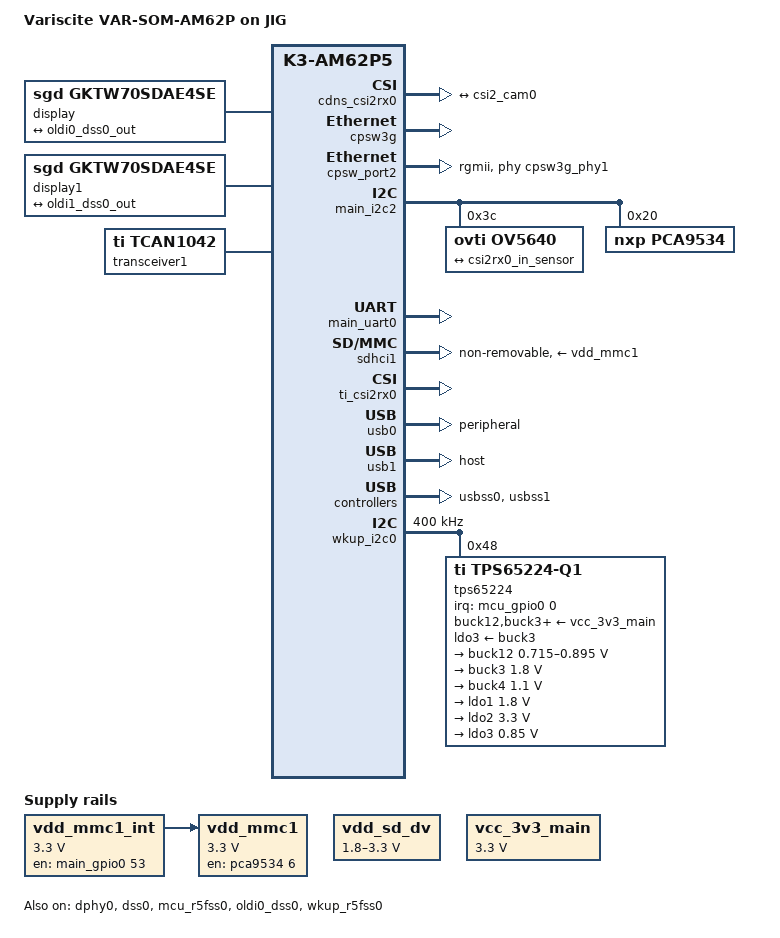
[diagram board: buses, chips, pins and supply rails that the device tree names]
// SPDX-License-Identifier: GPL-2.0
/*
 * VAR-SOM-AM62
 *
 * Copyright (C) 2021-2022 Texas Instruments Incorporated - https://www.ti.com/
 * Copyright (C) 2025 Variscite Ltd. - https://www.variscite.com/
 */

/dts-v1/;

#include "k3-am62p5-var-som.dtsi"

/ {
	model = "Variscite VAR-SOM-AM62P on JIG";

	aliases {
		ethernet0 = &cpsw_port1;
		ethernet1 = &cpsw_port2;
		mmc0 = &sdhci0;
		mmc1 = &sdhci1;
		mmc2 = &sdhci2;
		serial0 = &main_uart0;
		serial2 = &main_uart2;
		serial5 = &main_uart5;
		serial6 = &main_uart6;
		spi5 = &main_spi2;
		usb0 = &usb0;
		usb1 = &usb1;
		i2c0 = &main_i2c0;
		i2c1 = &main_i2c1;
		i2c2 = &main_i2c2;
		i2c3 = &main_i2c3;
	};

	chosen {
		stdout-path = "serial0:115200n8";
		bootargs = "console=ttyS0,115200n8 earlycon=ns16550a,mmio32,0x02800000";
	};

	clk_ov5640_fixed: clock {
		#clock-cells = <0>;
		compatible = "fixed-clock";
		clock-frequency = <24000000>;
	};

	display {
		compatible = "sgd,gktw70sdae4se";
		status = "okay";

		port@0 {
			lcd_in0: endpoint {
				remote-endpoint = <&oldi0_dss0_out>;
			};
		};
	};

	display1 {
		compatible = "sgd,gktw70sdae4se";
		status = "okay";

		port@1 {
			lcd_in1: endpoint {
				remote-endpoint = <&oldi1_dss0_out>;
			};
		};
	};

	transceiver1: can-phy0 {
		compatible = "ti,tcan1042";
		#phy-cells = <0>;
		max-bitrate = <5000000>;
	};

	vdd_mmc1: regulator-1 {
		compatible = "regulator-fixed";
		regulator-name = "sd_ext_rst";
	        vin-supply = <&vdd_mmc1_int>;
		regulator-min-microvolt = <3300000>;
		regulator-max-microvolt = <3300000>;
		regulator-boot-on;
		enable-active-high;
		gpio = <&pca9534 6 GPIO_ACTIVE_HIGH>;
		bootph-all;
	};

	vdd_mmc1_int: regulator-2 {
		compatible = "regulator-fixed";
		regulator-name = "sd_int_rst";
		pinctrl-names = "default";
		pinctrl-0 = <&vdd_mmc1_pins_default>;
		regulator-min-microvolt = <3300000>;
		regulator-max-microvolt = <3300000>;
		regulator-boot-on;
		enable-active-high;
		gpio = <&main_gpio0 53 GPIO_ACTIVE_HIGH>;
		bootph-all;
	};

	vdd_sd_dv: regulator-3 {
		compatible = "regulator-gpio";
		regulator-name = "vdd_sd_vio";
		pinctrl-names = "default";
		pinctrl-0 = <&vdd_sd_dv_pins_default>;
		regulator-min-microvolt = <1800000>;
		regulator-max-microvolt = <3300000>;
		regulator-boot-on;
		gpios = <&main_gpio0 56 GPIO_ACTIVE_HIGH>;
		states = <1800000 0x0>,
			 <3300000 0x1>;
		bootph-all;
	};

	vcc_3v3_main: regulator-4 {
		compatible = "regulator-fixed";
		regulator-name = "vcc_3v3_main";
		regulator-min-microvolt = <3300000>;
		regulator-max-microvolt = <3300000>;
		regulator-always-on;
		regulator-boot-on;
	};
};

&cdns_csi2rx0 {
	ports {
		#address-cells = <1>;
		#size-cells = <0>;

		csi0_port0: port@0 {
			reg = <0>;
			status = "okay";

			csi2rx0_in_sensor: endpoint {
				remote-endpoint = <&csi2_cam0>;
				bus-type = <4>; /* CSI2 DPHY. */
				clock-lanes = <0>;
				data-lanes = <1 2>;
			};
		};
	};
};

&cpsw3g {
	status = "okay";
	pinctrl-names = "default";
	pinctrl-0 = <&main_rgmii1_pins_default>;
};

&cpsw3g_mdio {
	pinctrl-names = "default";
	pinctrl-0 = <&main_mdio1_pins_default>;

	cpsw3g_phy1: ethernet-phy@5 {
		status = "disabled";
		reg = <5>;
		compatible = "ethernet-phy-id0283.bc30";
		reset-gpios = <&pca9534 5 GPIO_ACTIVE_LOW>;
		reset-assert-us = <10000>;
		reset-deassert-us = <100000>;
	};
};

&cpsw_port2 {
	phy-mode = "rgmii";
	phy-handle = <&cpsw3g_phy1>;
	status = "okay";
};

&dphy0 {
	status = "okay";
};

&dss0 {
	status = "okay";
};

&dss0_ports {
	#address-cells = <1>;
	#size-cells = <0>;

	/* VP1: Output to OLDI */
	port@0 {
		reg = <0>;
		#address-cells = <1>;
		#size-cells = <0>;

		dss0_dpi0_out0: endpoint@0 {
			reg = <0>;
			remote-endpoint = <&oldi0_dss0_in>;
		};

		dss0_dpi0_out1: endpoint@1 {
			reg = <1>;
			remote-endpoint = <&oldi1_dss0_in>;
		};
	};
};

&epwm1 {
	status = "disabled";
};

&mailbox0_cluster0 {
	mbox_r5_0: mbox-r5-0 {
		ti,mbox-rx = <0 0 0>;
		ti,mbox-tx = <1 0 0>;
	};
};

&mailbox0_cluster1 {
	mbox_mcu_r5_0: mbox-mcu-r5-0 {
		ti,mbox-rx = <0 0 0>;
		ti,mbox-tx = <1 0 0>;
	};
};

&main_i2c0{
	status = "disabled";
};

&main_i2c1 {
	status = "disabled";
};

&main_i2c2 {
	ov5640: camera@3c {
		compatible = "ovti,ov5640";
		reg = <0x3c>;

		clocks = <&clk_ov5640_fixed>;
		clock-names = "xclk";

		pinctrl-names = "default";

		port {
			csi2_cam0: endpoint {
				remote-endpoint = <&csi2rx0_in_sensor>;
				clock-lanes = <0>;
				data-lanes = <1 2>;
			};
		};
	};

	/* GPIO expander */
	pca9534: gpio@20 {
		compatible = "nxp,pca9534";
		reg = <0x20>;
		gpio-controller;
		#gpio-cells = <2>;
		status = "okay";
	};
};

&main_mcan0 {
	status = "disabled";
};

&main_pmx0 {

	pinctrl-names = "default";
	pinctrl-0 = <&mygpio1_pins_default>;

	mygpio1_pins_default: mygpio1-pins-default {
		pinctrl-single,pins = <
			AM62PX_IOPAD(0x01f0, PIN_INPUT, 7) /* (C25) EXT_REFCLK1.GPIO1_30 */
			AM62PX_IOPAD(0x0078, PIN_INPUT, 7) /* (AC24) GPMC0_AD15.GPIO0_30 */
			AM62PX_IOPAD(0x0164, PIN_INPUT, 7) /* (A20) RGMII2_TX_CTL.GPIO0_87 */
			AM62PX_IOPAD(0x0168, PIN_INPUT, 7) /* (D16) RGMII2_TXC.GPIO0_88 */
			AM62PX_IOPAD(0x016c, PIN_INPUT, 7) /* (B19) RGMII2_TD0.GPIO0_89 */
			AM62PX_IOPAD(0x0170, PIN_INPUT, 7) /* (A21) RGMII2_TD1.GPIO0_90 */
			AM62PX_IOPAD(0x0174, PIN_INPUT, 7) /* (D17) RGMII2_TD2.GPIO0_91 */
			AM62PX_IOPAD(0x0178, PIN_INPUT, 7) /* (A19) RGMII2_TD3.GPIO1_0 */
			AM62PX_IOPAD(0x017c, PIN_INPUT, 7) /* (F19) RGMII2_RX_CTL.GPIO1_1 */
			AM62PX_IOPAD(0x0180, PIN_INPUT, 7) /* (D19) RGMII2_RXC.GPIO1_2 */
			AM62PX_IOPAD(0x0184, PIN_INPUT, 7) /* (E19) RGMII2_RD0.GPIO1_3 */
			AM62PX_IOPAD(0x0188, PIN_INPUT, 7) /* (E16) RGMII2_RD1.GPIO1_4 */
			AM62PX_IOPAD(0x018c, PIN_INPUT, 7) /* (E17) RGMII2_RD2.GPIO1_5 */
			AM62PX_IOPAD(0x0190, PIN_INPUT, 7) /* (C19) RGMII2_RD3.GPIO1_6 */
			AM62PX_IOPAD(0x001c, PIN_INPUT, 7) /* (N21) OSPI0_D4.GPIO0_7 */
			AM62PX_IOPAD(0x0020, PIN_INPUT, 7) /* (N22) OSPI0_D5.GPIO0_8 */
			AM62PX_IOPAD(0x0024, PIN_INPUT, 7) /* (P21) OSPI0_D6.GPIO0_9 */
			AM62PX_IOPAD(0x0028, PIN_INPUT, 7) /* (N20) OSPI0_D7.GPIO0_10 */
			AM62PX_IOPAD(0x01e0, PIN_INPUT, 7) /* (B25) I2C0_SCL.GPIO1_26 */
			AM62PX_IOPAD(0x01e4, PIN_INPUT, 7) /* (A24) I2C0_SDA.GPIO1_27 */
			AM62PX_IOPAD(0x01e8, PIN_INPUT, 7) /* (C24) I2C1_SCL.GPIO1_28 */
			AM62PX_IOPAD(0x01ec, PIN_INPUT, 7) /* (B24) I2C1_SDA.GPIO1_29 */
			AM62PX_IOPAD(0x01ac, PIN_INPUT, 7) /* (G23) MCASP0_AFSR.GPIO1_13 */
			AM62PX_IOPAD(0x0244, PIN_INPUT, 7) /* (D24) MMC1_SDWP.GPIO1_49 */
			AM62PX_IOPAD(0x0194, PIN_INPUT, 7) /* (D25) MCASP0_AXR3.GPIO1_7 */
			AM62PX_IOPAD(0x0198, PIN_INPUT, 7) /* (E25) MCASP0_AXR2.GPIO1_8 */
			AM62PX_IOPAD(0x019c, PIN_INPUT, 7) /* (E24) MCASP0_AXR1.GPIO1_9 */
			AM62PX_IOPAD(0x01a0, PIN_INPUT, 7) /* (F23) MCASP0_AXR0.GPIO1_10 */
			AM62PX_IOPAD(0x01a4, PIN_INPUT, 7) /* (F24) MCASP0_ACLKX.GPIO1_11 */
			AM62PX_IOPAD(0x01a8, PIN_INPUT, 7) /* (F25) MCASP0_AFSX.GPIO1_12 */
			AM62PX_IOPAD(0x01b0, PIN_INPUT, 7) /* (G20) MCASP0_ACLKR.GPIO1_14 */
			AM62PX_IOPAD(0x01b8, PIN_INPUT, 7) /* (E20) SPI0_CS1.GPIO1_16 */
			AM62PX_IOPAD(0x01d8, PIN_INPUT, 7) /* (B23) MCAN0_TX.GPIO1_24 */
			AM62PX_IOPAD(0x01dc, PIN_INPUT, 7) /* (F20) MCAN0_RX.GPIO1_25 */
			AM62PX_IOPAD(0x240, PIN_INPUT, 7) /* (D23) MMC1_SDCD.GPIO1_48 */
			AM62PX_IOPAD(0x0048, PIN_INPUT, 7) /* (V25) GPMC0_AD3.GPIO0_18 */
			AM62PX_IOPAD(0x004c, PIN_INPUT, 7) /* (T20) GPMC0_AD4.GPIO0_19 */
			AM62PX_IOPAD(0x0050, PIN_INPUT, 7) /* (T21) GPMC0_AD5.GPIO0_20 */
			AM62PX_IOPAD(0x0054, PIN_INPUT, 7) /* (V24) GPMC0_AD6.GPIO0_21 */
			AM62PX_IOPAD(0x0058, PIN_INPUT, 7) /* (W25) GPMC0_AD7.GPIO0_22 */
			AM62PX_IOPAD(0x005c, PIN_INPUT, 7) /* (AC25) GPMC0_AD8.GPIO0_23 */
			AM62PX_IOPAD(0x0060, PIN_INPUT, 7) /* (AB25) GPMC0_AD9.GPIO0_24 */
			AM62PX_IOPAD(0x0064, PIN_INPUT, 7) /* (AA25) GPMC0_AD10.GPIO0_25 */
			AM62PX_IOPAD(0x0068, PIN_INPUT, 7) /* (W24) GPMC0_AD11.GPIO0_26 */
			AM62PX_IOPAD(0x006c, PIN_INPUT, 7) /* (Y24) GPMC0_AD12.GPIO0_27 */
			AM62PX_IOPAD(0x0070, PIN_INPUT, 7) /* (AD25) GPMC0_AD13.GPIO0_28 */
			AM62PX_IOPAD(0x0074, PIN_INPUT, 7) /* (AB24) GPMC0_AD14.GPIO0_29 */
			AM62PX_IOPAD(0x009c, PIN_INPUT, 7) /* (AD24) GPMC0_WAIT1.GPIO0_38 */
			AM62PX_IOPAD(0x0254, PIN_INPUT, 7) /* (G22) USB0_DRVVBUS.GPIO1_50 */
			AM62PX_IOPAD(0x0258, PIN_INPUT, 7) /* (G21) USB1_DRVVBUS.GPIO1_51 */
		>;
	};

	main_mmc1_pins_default: main-mmc1-pins-default {
		pinctrl-single,pins = <
			AM62PX_IOPAD(0x023c, PIN_INPUT, 0) /* (H20) MMC1_CMD */
			AM62PX_IOPAD(0x0234, PIN_OUTPUT, 0) /* (J24) MMC1_CLK */
			AM62PX_IOPAD(0x0230, PIN_INPUT, 0) /* (H21) MMC1_DAT0 */
			AM62PX_IOPAD(0x022c, PIN_INPUT_PULLUP, 0) /* (H23) MMC1_DAT1 */
			AM62PX_IOPAD(0x0228, PIN_INPUT_PULLUP, 0) /* (H22) MMC1_DAT2 */
			AM62PX_IOPAD(0x0224, PIN_INPUT_PULLUP, 0) /* (H25) MMC1_DAT3 */
		>;
		bootph-all;
	};

	main_uart0_pins_default: main-uart0-default-pins {
		pinctrl-single,pins = <
			AM62PX_IOPAD(0x1c8, PIN_INPUT, 0)	/* (A22) UART0_RXD */
			AM62PX_IOPAD(0x1cc, PIN_OUTPUT, 0)	/* (B22) UART0_TXD */
		>;
		bootph-all;
	};

	vdd_mmc1_pins_default: vdd-mmc1-pins-default {
		pinctrl-single,pins = <
			AM62PX_IOPAD(0x00d8, PIN_OUTPUT, 7) /* (AE22) VOUT0_DATA8.GPIO0_53 */
		>;
		bootph-all;
	};

	vdd_sd_dv_pins_default: vdd-sd-dv-pins-default {
		pinctrl-single,pins = <
			AM62PX_IOPAD(0x00e4, PIN_OUTPUT, 7) /* (AE21) VOUT0_DATA11.GPIO0_56 */
		>;
		bootph-all;
	};
};

&main_spi2 {
	status = "disabled";
};

&main_uart0 {
	status = "okay";
	pinctrl-names = "default";
	pinctrl-0 = <&main_uart0_pins_default>;
};

&main_uart1 {
	/* Main UART1 is used by TIFS firmware */
	status = "reserved";
};

&main_uart2 {
	status = "disabled";
};

&main_uart6 {
	status = "disabled";
};

&mcu_pmx0 {
	pinctrl-names = "default";
	pinctrl-0 = <&mymcugpio1_pins_default>;

	mymcugpio1_pins_default: mymcugpio1-pins-default {
		pinctrl-single,pins = <
			AM62PX_MCU_IOPAD(0x0004, PIN_INPUT, 7) /* (E10) MCU_SPI0_CS1.MCU_GPIO0_1 */
			AM62PX_MCU_IOPAD(0x0008, PIN_INPUT, 7) /* (C10) MCU_SPI0_CLK.MCU_GPIO0_2 */
			AM62PX_MCU_IOPAD(0x000c, PIN_INPUT, 7) /* (B11) MCU_SPI0_D0.MCU_GPIO0_3 */
			AM62PX_MCU_IOPAD(0x0010, PIN_INPUT, 7) /* (D10) MCU_SPI0_D1.MCU_GPIO0_4 */
			AM62PX_MCU_IOPAD(0x0014, PIN_INPUT, 7) /* (B6) MCU_UART0_RXD.MCU_GPIO0_5 */
			AM62PX_MCU_IOPAD(0x0018, PIN_INPUT, 7) /* (C8) MCU_UART0_TXD.MCU_GPIO0_6 */
			AM62PX_MCU_IOPAD(0x001c, PIN_INPUT, 7) /* (B8) MCU_UART0_CTSn.MCU_GPIO0_7 */
			AM62PX_MCU_IOPAD(0x0020, PIN_INPUT, 7) /* (B7) MCU_UART0_RTSn.MCU_GPIO0_8 */
			AM62PX_MCU_IOPAD(0x0024, PIN_INPUT, 7) /* (D8) WKUP_UART0_RXD.MCU_GPIO0_9 */
			AM62PX_MCU_IOPAD(0x0028, PIN_INPUT, 7) /* (D7) WKUP_UART0_TXD.MCU_GPIO0_10 */
			AM62PX_MCU_IOPAD(0x002c, PIN_INPUT, 7) /* (C7) WKUP_UART0_CTSn.MCU_GPIO0_11 */
			AM62PX_MCU_IOPAD(0x0030, PIN_INPUT, 7) /* (C6) WKUP_UART0_RTSn.MCU_GPIO0_12 */
			AM62PX_MCU_IOPAD(0x0034, PIN_INPUT, 7) /* (E8) MCU_MCAN0_TX.MCU_GPIO0_13 */
			AM62PX_MCU_IOPAD(0x0038, PIN_INPUT, 7) /* (D6) MCU_MCAN0_RX.MCU_GPIO0_14 */
			AM62PX_MCU_IOPAD(0x003c, PIN_INPUT, 7) /* (F8) MCU_MCAN1_TX.MCU_GPIO0_15 */
			AM62PX_MCU_IOPAD(0x0040, PIN_INPUT, 7) /* (E7) MCU_MCAN1_RX.MCU_GPIO0_16 */
			AM62PX_MCU_IOPAD(0x0044, PIN_INPUT, 7) /* (E11) MCU_I2C0_SCL.MCU_GPIO0_17 */
			AM62PX_MCU_IOPAD(0x0048, PIN_INPUT, 7) /* (D11) MCU_I2C0_SDA.MCU_GPIO0_18 */
			AM62PX_MCU_IOPAD(0x005c, PIN_INPUT, 7) /* (F14) MCU_RESETSTATz.MCU_GPIO0_21 */
		>;
	};

	wkup_i2c0_pins_default: wkup-i2c0-default-pins {
		pinctrl-single,pins = <
			AM62PX_MCU_IOPAD(0x04c, PIN_INPUT, 0) /* (A13) WKUP_I2C0_SCL */
			AM62PX_MCU_IOPAD(0x050, PIN_INPUT, 0) /* (C11) WKUP_I2C0_SDA */
		>;
	};

	pmic_irq_pins_default: pmic-irq-default-pins {
		pinctrl-single,pins = <
			AM62PX_MCU_IOPAD(0x000, PIN_INPUT, 7) /* (B10) MCU_GPIO0_0 */
		>;
	};
};

&mcu_r5fss0 {
	status = "okay";
};

&mcu_r5fss0_core0 {
	mboxes = <&mailbox0_cluster1 &mbox_mcu_r5_0>;
	memory-region = <&mcu_r5fss0_core0_dma_memory_region>,
			<&mcu_r5fss0_core0_memory_region>;
};

&oldi0_dss0 {
	status = "okay";
};

&oldi0_dss0_ports {
	#address-cells = <1>;
	#size-cells = <0>;

	port@0 {
		reg = <0>;

		oldi0_dss0_in: endpoint {
			remote-endpoint = <&dss0_dpi0_out0>;
		};
	};

	port@1 {
		reg = <1>;

		oldi0_dss0_out: endpoint {
			remote-endpoint = <&lcd_in0>;
		};
	};
};

&oldi1_dss0_ports {
	#address-cells = <1>;
	#size-cells = <0>;

	port@0 {
		reg = <0>;

		oldi1_dss0_in: endpoint {
			remote-endpoint = <&dss0_dpi0_out1>;
		};
	};

	port@1 {
		reg = <1>;

		oldi1_dss0_out: endpoint {
			remote-endpoint = <&lcd_in1>;
		};
	};
};

&sdhci1 {
	/* SD Card */
	vmmc-supply = <&vdd_mmc1>;
	vqmmc-supply = <&vdd_sd_dv>;
	pinctrl-names = "default";
	pinctrl-0 = <&main_mmc1_pins_default>;
	disable-wp;
	non-removable;
	ti,fails-without-test-cd;
	status="okay";
	bootph-all;
};

&ti_csi2rx0 {
	status = "okay";
};

&usb0 {
	dr_mode = "peripheral";
	status="okay";
};

&usb1 {
	dr_mode = "host";
	status="okay";
};

&usbss0 {
	status = "okay";
};

&usbss1 {
	status = "okay";
};

&wkup_r5fss0 {
	status = "okay";
};

&wkup_r5fss0_core0 {
	mboxes = <&mailbox0_cluster0 &mbox_r5_0>;
	memory-region = <&wkup_r5fss0_core0_dma_memory_region>,
			<&wkup_r5fss0_core0_memory_region>;
};

&wkup_rtc0 {
	status = "disabled";
};

&wkup_rti0 {
	/* WKUP RTI0 is used by DM firmware */
	status = "reserved";
};

&wkup_uart0 {
	/* WKUP UART0 is used by DM firmware */
	status = "reserved";
	bootph-all;
};

&wkup_i2c0 {
	status = "okay";
	pinctrl-names = "default";
	pinctrl-0 = <&wkup_i2c0_pins_default>;
	clock-frequency = <400000>;

	tps65224: pmic@48 {
		compatible = "ti,tps65224-q1";
		reg = <0x48>;
		pinctrl-names = "default";
		pinctrl-0 = <&pmic_irq_pins_default>;
		interrupt-parent = <&mcu_gpio0>;
		interrupts = <0 IRQ_TYPE_EDGE_FALLING>;
		ti,primary-pmic;

		gpio-controller;
		#gpio-cells = <2>;

		buck12-supply = <&vcc_3v3_main>;
		buck3-supply = <&vcc_3v3_main>;
		buck4-supply = <&vcc_3v3_main>;

		ldo1-supply = <&vcc_3v3_main>;
		ldo2-supply = <&vcc_3v3_main>;
		ldo3-supply = <&buck3>;

		regulators {
			buck12: buck12 {
				regulator-name = "vcc_core_buck12";
				regulator-min-microvolt = <715000>;
				regulator-max-microvolt = <895000>;
				regulator-boot-on;
				regulator-always-on;
			};

			buck3: buck3 {
				regulator-name = "vcc1v8_sys_buck3";
				regulator-min-microvolt = <1800000>;
				regulator-max-microvolt = <1800000>;
				regulator-boot-on;
				regulator-always-on;
			};

			buck4: buck4 {
				regulator-name = "vcc1v1_buck4";
				regulator-min-microvolt = <1100000>;
				regulator-max-microvolt = <1100000>;
				regulator-boot-on;
				regulator-always-on;
			};

			ldo1: ldo1 {
				regulator-name = "vdda1v8_ldo1";
				regulator-min-microvolt = <1800000>;
				regulator-max-microvolt = <1800000>;
				regulator-boot-on;
				regulator-always-on;
			};

			ldo2: ldo2 {
				regulator-name = "dvdd3v3_ldo2";
				regulator-min-microvolt = <3300000>;
				regulator-max-microvolt = <3300000>;
				regulator-boot-on;
				regulator-always-on;
			};

			ldo3: ldo3 {
				regulator-name = "vcc_0v85_ldo3";
				regulator-min-microvolt = <850000>;
				regulator-max-microvolt = <850000>;
				regulator-boot-on;
				regulator-always-on;
			};
		};
	};
};

/* mcu_gpio0 and mcu_gpio_intr are reserved for mcu firmware usage */
&mcu_gpio0 {
	status = "okay";
};

&mcu_gpio_intr {
	status = "okay";
};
